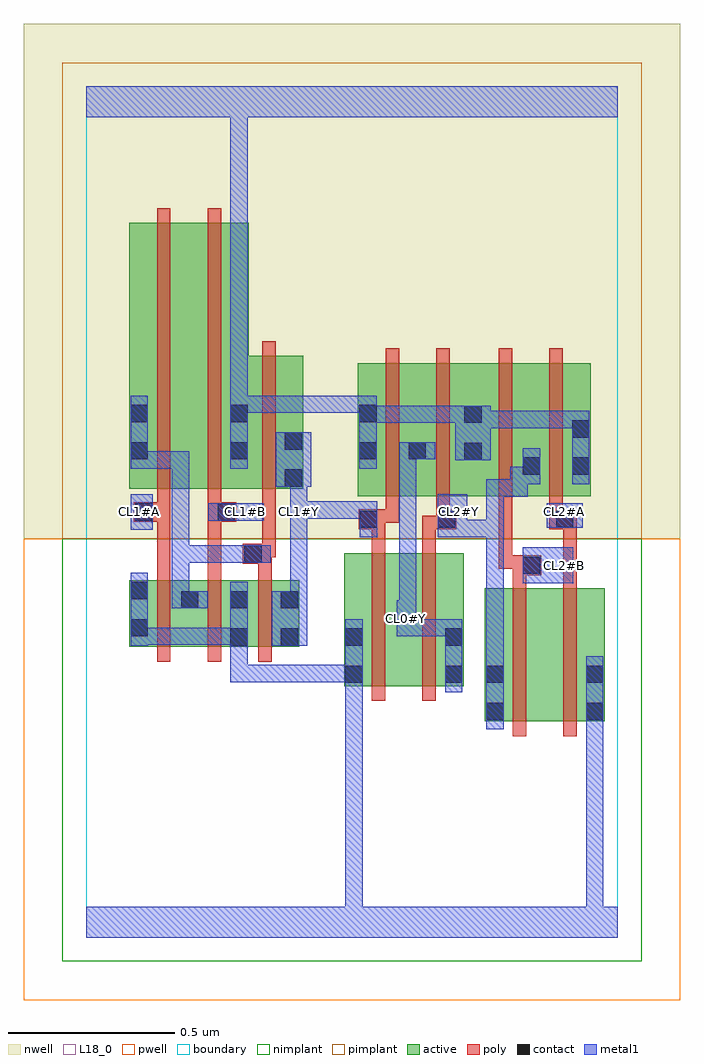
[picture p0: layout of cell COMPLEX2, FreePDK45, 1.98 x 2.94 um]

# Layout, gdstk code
import gdstk
lib = gdstk.Library(unit=1e-6, precision=1e-09)
def R(c, l, rs):  # rectangles x0, y0, x1, y1
    for r in rs: c.add(gdstk.rectangle(r[:2], r[2:], *l))
def A(c, l, x, y, w, h, nx, ny, dx, dy):  # array of equal rectangles
    R(c, l, [(x+i*dx, y+j*dy, x+i*dx+w, y+j*dy+h) for i in range(nx) for j in range(ny)])
active = (1, 0)
pwell = (2, 0)
nwell = (3, 0)
nimplant = (4, 0)
pimplant = (5, 0)
poly = (9, 0)
contact = (10, 0)
metal1 = (11, 0)
L18_0 = (18, 0)
boundary = (235, 0)

complex2 = lib.new_cell('COMPLEX2')
R(complex2, active, [(1.2,0.65,1.26,1.05), (1.2,0.65,1.38,1.05), (1.38,0.65,1.56,1.05), (1.5,0.65,1.56,1.05), (0.776,0.756,0.836,1.156), (0.776,0.756,0.956,1.156), (0.956,0.756,1.136,1.156), (1.076,0.756,1.136,1.156), (0.13,0.874,0.19,1.074), (0.13,0.874,0.342,1.074), (0.282,0.874,0.49,1.074), (0.43,0.874,0.49,1.074), (0.43,0.874,0.642,1.074), (0.582,0.874,0.642,1.074), (0.282,0.956,0.342,1.046), (0.818,1.328,0.878,1.644), (0.818,1.328,1.026,1.728), (0.966,1.328,1.026,1.644), (0.966,1.328,1.194,1.728), (1.134,1.328,1.194,1.644), (1.134,1.328,1.37,1.728), (1.31,1.328,1.518,1.728), (1.458,1.328,1.518,1.644), (0.13,1.35,0.31,2.15), (0.13,1.35,0.19,2.044), (0.31,1.35,0.49,2.15), (0.43,1.35,0.49,1.644), (0.43,1.35,0.654,1.75), (0.594,1.35,0.654,1.644), (1.31,1.388,1.37,1.644)])
R(complex2, pwell, [(-0.188,-0.188,1.788,1.2)])
R(complex2, nwell, [(-0.188,1.2,1.788,2.748)])
R(complex2, nimplant, [(-0.072,-0.072,1.672,1.2)])
R(complex2, pimplant, [(-0.072,1.2,1.672,2.632)])
A(complex2, poly, 0.214, 0.83, 0.04, 0.288, 3, 1, 0.152, 0)
R(complex2, poly, [(1.284,0.606,1.324,1.094), (1.436,0.606,1.476,1.094), (0.86,0.712,0.9,1.2), (1.012,0.712,1.052,1.2), (1.284,1.054,1.324,1.13), (1.436,1.054,1.476,1.268), (0.214,1.078,0.254,1.29), (0.366,1.078,0.406,1.29), (0.518,1.078,0.558,1.164), (1.284,1.09,1.37,1.15), (1.242,1.11,1.282,1.324), (1.242,1.11,1.324,1.15), (1.284,1.11,1.324,1.15), (0.472,1.124,0.558,1.184), (0.518,1.144,0.558,1.184), (0.518,1.144,0.57,1.184), (0.53,1.144,0.57,1.346), (0.86,1.16,0.9,1.268), (1.012,1.16,1.052,1.268), (0.82,1.228,0.9,1.288), (1.012,1.228,1.094,1.268), (1.054,1.228,1.094,1.268), (1.054,1.228,1.114,1.288), (1.394,1.228,1.476,1.288), (1.436,1.228,1.476,1.268), (1.436,1.228,1.476,1.268), (0.86,1.248,0.9,1.288), (0.86,1.248,0.942,1.288), (0.902,1.248,0.942,1.324), (1.054,1.248,1.094,1.324), (1.394,1.248,1.434,1.324), (0.144,1.25,0.254,1.31), (0.366,1.25,0.406,1.29), (0.366,1.25,0.406,1.29), (0.366,1.25,0.452,1.31), (0.214,1.27,0.254,1.346), (0.214,1.27,0.254,1.31), (0.214,1.27,0.254,1.31), (0.366,1.27,0.406,1.346), (0.902,1.284,0.942,1.772), (1.054,1.284,1.094,1.772), (1.242,1.284,1.282,1.772), (1.394,1.284,1.434,1.772), (0.214,1.306,0.254,2.194), (0.366,1.306,0.406,2.194), (0.53,1.306,0.57,1.794)])
R(complex2, contact, [(1.204,0.654,1.256,0.706), (1.504,0.654,1.556,0.706), (0.78,0.766,0.832,0.818), (1.08,0.766,1.132,0.818), (1.204,0.766,1.256,0.818), (1.504,0.766,1.556,0.818), (0.434,0.878,0.486,0.93), (0.586,0.878,0.638,0.93), (0.78,0.878,0.832,0.93), (1.08,0.878,1.132,0.93), (0.134,0.906,0.186,0.958), (0.286,0.99,0.338,1.042), (0.434,0.99,0.486,1.042), (0.586,0.99,0.638,1.042), (0.134,1.018,0.186,1.07), (1.314,1.094,1.366,1.146), (0.476,1.128,0.528,1.18), (0.824,1.232,0.876,1.284), (1.058,1.232,1.11,1.284), (1.414,1.232,1.466,1.284), (0.148,1.254,0.2,1.306), (0.396,1.254,0.448,1.306), (0.598,1.356,0.65,1.408), (1.314,1.392,1.366,1.444), (1.462,1.392,1.514,1.444), (1.138,1.436,1.19,1.488), (0.134,1.438,0.186,1.49), (0.434,1.438,0.486,1.49), (0.822,1.438,0.874,1.49), (0.97,1.438,1.022,1.49), (0.598,1.468,0.65,1.52), (1.462,1.504,1.514,1.556), (1.138,1.548,1.19,1.6), (0.134,1.55,0.186,1.602), (0.434,1.55,0.486,1.602), (0.822,1.55,0.874,1.602)])
R(complex2, metal1, [(0,0,1.6,0.092), (0.78,0.04,0.832,0.092), (0.78,0.04,0.832,0.092), (0.78,0.04,0.832,0.79), (1.504,0.04,1.556,0.092), (1.504,0.04,1.556,0.092), (1.504,0.04,1.556,0.092), (1.504,0.04,1.556,0.092), (1.504,0.04,1.556,0.092), (1.504,0.04,1.556,0.092), (1.504,0.04,1.556,0.092), (1.504,0.04,1.556,0.092), (1.504,0.04,1.556,0.092), (1.504,0.04,1.556,0.092), (1.504,0.04,1.556,0.678), (1.204,0.626,1.256,0.846), (1.504,0.626,1.556,0.678), (1.504,0.626,1.556,0.678), (1.504,0.626,1.556,0.846), (0.78,0.738,0.832,0.79), (0.78,0.738,0.832,0.79), (0.78,0.738,0.832,0.79), (0.78,0.738,0.832,0.79), (0.78,0.738,0.832,0.79), (0.78,0.738,0.832,0.79), (0.78,0.738,0.832,0.79), (0.78,0.738,0.832,0.79), (0.78,0.738,0.832,0.79), (0.78,0.738,0.832,0.79), (0.78,0.738,0.832,0.958), (1.08,0.738,1.132,0.958), (0.434,0.768,0.486,0.82), (0.434,0.768,0.486,0.82), (0.434,0.768,0.486,0.82), (0.434,0.768,0.666,0.82), (0.434,0.768,0.486,0.902), (0.614,0.768,0.666,0.82), (0.614,0.768,0.832,0.82), (1.204,0.794,1.256,0.846), (1.204,0.794,1.256,0.846), (1.204,0.794,1.256,1.256), (0.434,0.85,0.486,0.902), (0.434,0.85,0.486,0.902), (0.434,0.85,0.486,1.07), (0.134,0.878,0.186,1.098), (0.558,0.878,0.666,1.042), (0.134,0.88,0.186,0.932), (0.134,0.88,0.186,0.932), (0.134,0.88,0.376,0.932), (0.324,0.88,0.376,0.932), (0.324,0.88,0.376,0.932), (0.324,0.88,0.376,0.932), (0.324,0.88,0.486,0.932), (0.934,0.906,0.994,1.014), (0.942,0.906,1.132,0.958), (1.08,0.906,1.132,0.958), (1.08,0.906,1.132,0.958), (1.08,0.906,1.132,0.958), (1.08,0.906,1.132,0.958), (0.942,0.962,0.994,1.49), (0.258,0.99,0.366,1.042), (0.258,0.99,0.31,1.18), (0.614,0.99,0.666,1.278), (1.314,1.066,1.466,1.174), (0.258,1.128,0.31,1.18), (0.258,1.128,0.31,1.18), (0.258,1.128,0.31,1.18), (0.258,1.128,0.5,1.18), (0.258,1.128,0.31,1.462), (0.448,1.128,0.5,1.18), (0.448,1.128,0.5,1.18), (0.448,1.128,0.556,1.18), (0.824,1.204,0.876,1.312), (1.058,1.204,1.146,1.334), (1.094,1.204,1.146,1.256), (1.094,1.204,1.146,1.256), (1.094,1.204,1.256,1.256), (1.204,1.204,1.256,1.256), (1.204,1.204,1.256,1.378), (0.134,1.226,0.2,1.334), (0.614,1.226,0.666,1.334), (1.386,1.232,1.494,1.306), (0.368,1.254,0.534,1.306), (0.614,1.26,0.666,1.312), (0.614,1.26,0.666,1.312), (0.614,1.26,0.876,1.312), (0.614,1.282,0.666,1.334), (0.614,1.282,0.666,1.334), (0.614,1.282,0.666,1.408), (1.204,1.326,1.256,1.378), (1.204,1.326,1.328,1.378), (1.276,1.326,1.328,1.416), (0.57,1.356,0.678,1.52), (1.276,1.364,1.366,1.416), (1.314,1.364,1.366,1.472), (1.462,1.364,1.514,1.584), (0.134,1.41,0.186,1.462), (0.134,1.41,0.186,1.462), (0.134,1.41,0.186,1.462), (0.134,1.41,0.186,1.462), (0.134,1.41,0.186,1.63), (0.134,1.41,0.31,1.462), (0.258,1.41,0.31,1.462), (0.434,1.41,0.486,1.63), (0.822,1.41,0.874,1.63), (1.11,1.436,1.218,1.6), (0.942,1.438,0.994,1.49), (0.942,1.438,0.994,1.49), (0.942,1.438,1.05,1.49), (1.166,1.532,1.256,1.584), (1.204,1.532,1.256,1.584), (1.204,1.532,1.328,1.584), (1.276,1.532,1.328,1.584), (1.276,1.532,1.366,1.584), (1.314,1.532,1.366,1.584), (1.314,1.532,1.514,1.584), (1.462,1.532,1.514,1.584), (1.462,1.532,1.514,1.584), (0.822,1.548,0.876,1.6), (0.824,1.548,0.876,1.6), (0.824,1.548,0.986,1.6), (0.934,1.548,0.986,1.6), (0.934,1.548,0.986,1.6), (0.934,1.548,0.986,1.6), (0.934,1.548,1.162,1.6), (0.434,1.578,0.486,1.63), (0.434,1.578,0.486,1.63), (0.434,1.578,0.486,1.63), (0.434,1.578,0.486,1.63), (0.434,1.578,0.486,1.63), (0.434,1.578,0.486,1.63), (0.434,1.578,0.486,1.63), (0.434,1.578,0.486,1.63), (0.434,1.578,0.61,1.63), (0.434,1.578,0.486,2.52), (0.558,1.578,0.61,1.63), (0.558,1.578,0.61,1.63), (0.558,1.578,0.61,1.63), (0.558,1.578,0.61,1.63), (0.558,1.578,0.61,1.63), (0.558,1.578,0.61,1.63), (0.558,1.578,0.61,1.63), (0.558,1.578,0.61,1.63), (0.558,1.578,0.61,1.63), (0.558,1.578,0.874,1.63), (0,2.468,1.6,2.56), (0.434,2.468,0.486,2.52), (0.434,2.468,0.486,2.52)])
R(complex2, L18_0, [(0,0,1.6,0.092), (0.78,0.04,0.832,0.092), (0.78,0.04,0.832,0.092), (0.78,0.04,0.832,0.79), (1.504,0.04,1.556,0.092), (1.504,0.04,1.556,0.092), (1.504,0.04,1.556,0.092), (1.504,0.04,1.556,0.092), (1.504,0.04,1.556,0.092), (1.504,0.04,1.556,0.092), (1.504,0.04,1.556,0.092), (1.504,0.04,1.556,0.092), (1.504,0.04,1.556,0.092), (1.504,0.04,1.556,0.092), (1.504,0.04,1.556,0.678), (1.204,0.626,1.256,0.846), (1.504,0.626,1.556,0.846), (1.504,0.626,1.556,0.678), (1.504,0.626,1.556,0.678), (0.78,0.738,0.832,0.958), (0.78,0.738,0.832,0.79), (0.78,0.738,0.832,0.79), (0.78,0.738,0.832,0.79), (0.78,0.738,0.832,0.79), (0.78,0.738,0.832,0.79), (0.78,0.738,0.832,0.79), (0.78,0.738,0.832,0.79), (0.78,0.738,0.832,0.79), (0.78,0.738,0.832,0.79), (0.78,0.738,0.832,0.79), (1.08,0.738,1.132,0.958), (0.434,0.768,0.486,0.82), (0.434,0.768,0.486,0.82), (0.434,0.768,0.486,0.82), (0.434,0.768,0.486,0.902), (0.434,0.768,0.666,0.82), (0.614,0.768,0.666,0.82), (0.614,0.768,0.832,0.82), (1.204,0.794,1.256,0.846), (1.204,0.794,1.256,0.846), (1.204,0.794,1.256,1.256), (0.434,0.85,0.486,1.07), (0.434,0.85,0.486,0.902), (0.434,0.85,0.486,0.902), (0.134,0.878,0.186,1.098), (0.558,0.878,0.666,1.042), (0.134,0.88,0.186,0.932), (0.134,0.88,0.186,0.932), (0.134,0.88,0.376,0.932), (0.324,0.88,0.376,0.932), (0.324,0.88,0.376,0.932), (0.324,0.88,0.376,0.932), (0.324,0.88,0.486,0.932), (0.934,0.906,0.994,1.014), (0.942,0.906,1.132,0.958), (1.08,0.906,1.132,0.958), (1.08,0.906,1.132,0.958), (1.08,0.906,1.132,0.958), (1.08,0.906,1.132,0.958), (0.934,0.934,0.986,0.986), (0.942,0.962,0.994,1.49), (0.614,0.99,0.666,1.278), (1.314,1.066,1.466,1.174), (1.414,1.094,1.466,1.146), (0.824,1.204,0.876,1.312), (1.058,1.204,1.146,1.334), (1.094,1.204,1.146,1.256), (1.094,1.204,1.146,1.256), (1.094,1.204,1.256,1.256), (1.204,1.204,1.256,1.256), (1.204,1.204,1.256,1.378), (0.134,1.226,0.2,1.334), (0.614,1.226,0.666,1.334), (1.386,1.232,1.494,1.306), (0.134,1.254,0.186,1.306), (0.368,1.254,0.534,1.306), (0.454,1.254,0.506,1.306), (0.614,1.254,0.666,1.306), (1.094,1.254,1.146,1.306), (1.414,1.254,1.466,1.306), (0.614,1.26,0.666,1.312), (0.614,1.26,0.666,1.312), (0.614,1.26,0.876,1.312), (0.614,1.282,0.666,1.334), (0.614,1.282,0.666,1.334), (0.614,1.282,0.666,1.408), (1.204,1.326,1.256,1.378), (1.204,1.326,1.328,1.378), (1.276,1.326,1.328,1.416), (0.57,1.356,0.678,1.52), (1.276,1.364,1.366,1.416), (1.314,1.364,1.366,1.472), (1.462,1.364,1.514,1.584), (0.434,1.41,0.486,1.63), (0.822,1.41,0.874,1.63), (1.11,1.436,1.218,1.6), (0.942,1.438,0.994,1.49), (0.942,1.438,0.994,1.49), (0.942,1.438,1.05,1.49), (1.166,1.532,1.256,1.584), (1.204,1.532,1.256,1.584), (1.204,1.532,1.328,1.584), (1.276,1.532,1.328,1.584), (1.276,1.532,1.366,1.584), (1.314,1.532,1.366,1.584), (1.314,1.532,1.514,1.584), (1.462,1.532,1.514,1.584), (1.462,1.532,1.514,1.584), (0.822,1.548,0.876,1.6), (0.824,1.548,0.876,1.6), (0.824,1.548,0.986,1.6), (0.934,1.548,0.986,1.6), (0.934,1.548,0.986,1.6), (0.934,1.548,0.986,1.6), (0.934,1.548,1.162,1.6), (0.434,1.578,0.486,1.63), (0.434,1.578,0.486,1.63), (0.434,1.578,0.486,1.63), (0.434,1.578,0.486,1.63), (0.434,1.578,0.486,1.63), (0.434,1.578,0.486,1.63), (0.434,1.578,0.486,1.63), (0.434,1.578,0.486,1.63), (0.434,1.578,0.486,2.52), (0.434,1.578,0.61,1.63), (0.558,1.578,0.61,1.63), (0.558,1.578,0.61,1.63), (0.558,1.578,0.61,1.63), (0.558,1.578,0.61,1.63), (0.558,1.578,0.61,1.63), (0.558,1.578,0.61,1.63), (0.558,1.578,0.61,1.63), (0.558,1.578,0.61,1.63), (0.558,1.578,0.61,1.63), (0.558,1.578,0.874,1.63), (0,2.468,1.6,2.56), (0.434,2.468,0.486,2.52), (0.434,2.468,0.486,2.52)])
R(complex2, boundary, [(0,0,1.6,2.56)])
complex2.add(gdstk.Label('CL0#Y', (0.96,0.96), layer=11, texttype=0))
complex2.add(gdstk.Label('CL1#A', (0.16,1.28), layer=11, texttype=0))
complex2.add(gdstk.Label('CL1#B', (0.48,1.28), layer=11, texttype=0))
complex2.add(gdstk.Label('CL1#Y', (0.64,1.28), layer=11, texttype=0))
complex2.add(gdstk.Label('CL2#A', (1.44,1.28), layer=11, texttype=0))
complex2.add(gdstk.Label('CL2#B', (1.44,1.12), layer=11, texttype=0))
complex2.add(gdstk.Label('CL2#Y', (1.12,1.28), layer=11, texttype=0))

lib.write_gds('COMPLEX2.gds')
